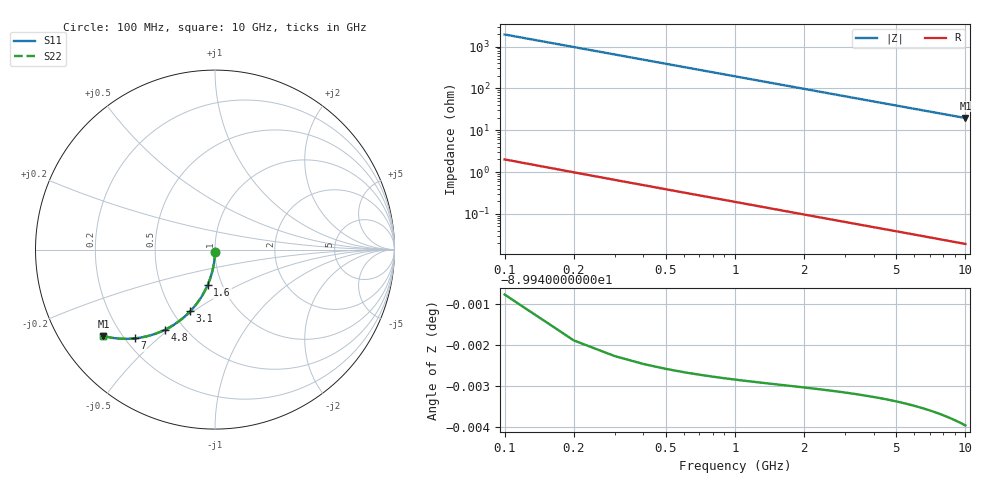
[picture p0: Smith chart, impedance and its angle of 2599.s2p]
# Hz S RI R 50.00
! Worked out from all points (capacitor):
!   100 points, 100 MHz to 10 GHz, reference 50 ohm
!   read as one part in shunt: C = 821 fF near 100 MHz
!   lowest |Z| = 19.6 ohm at 10 GHz (marker M1)
!   S11 on the Smith chart (normalised r, x): 100 MHz: 1.00, -0.03; 1.6 GHz: 0.85, -0.35; 3.1 GHz: 0.61, -0.49; 4.8 GHz: 0.40, -0.49; 7 GHz: 0.24, -0.42; 10 GHz: 0.13, -0.34
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1e8  -0.000164 -0.0129  0.9998 -0.0129  0.9998 -0.0129  -0.000164 -0.0129
2e8  -0.000675 -0.0257  0.9993 -0.0258  0.9993 -0.0258  -0.000675 -0.0257
3e8  -0.00152 -0.0385  0.9985 -0.0387  0.9985 -0.0387  -0.00152 -0.0385
4e8  -0.00269 -0.0513  0.9973 -0.0516  0.9973 -0.0516  -0.00269 -0.0513
5e8  -0.00419 -0.064  0.9958 -0.0643  0.9958 -0.0643  -0.00419 -0.064
6e8  -0.00601 -0.0767  0.994 -0.0771  0.994 -0.0771  -0.00601 -0.0767
7e8  -0.00815 -0.0893  0.9918 -0.0897  0.9918 -0.0897  -0.00815 -0.0893
9e8  -0.0134 -0.1142  0.9866 -0.1147  0.9866 -0.1147  -0.0134 -0.1142
1.2e9  -0.0235 -0.1507  0.9765 -0.1514  0.9765 -0.1514  -0.0235 -0.1507
1.6e9  -0.041 -0.1973  0.959 -0.1982  0.959 -0.1982  -0.041 -0.1973
1.8e9  -0.0512 -0.2195  0.9487 -0.2206  0.9487 -0.2206  -0.0512 -0.2195
2.4e9  -0.0875 -0.2814  0.9125 -0.2828  0.9125 -0.2828  -0.0875 -0.2814
3.1e9  -0.1377 -0.3432  0.8623 -0.345  0.8623 -0.345  -0.1377 -0.3432
3.4e9  -0.1611 -0.3661  0.8389 -0.3681  0.8389 -0.3681  -0.1611 -0.3661
4.1e9  -0.218 -0.4112  0.782 -0.4136  0.782 -0.4136  -0.218 -0.4112
4.8e9  -0.2762 -0.4452  0.7238 -0.448  0.7238 -0.448  -0.2762 -0.4452
5.1e9  -0.301 -0.4567  0.699 -0.4597  0.699 -0.4597  -0.301 -0.4567
5.9e9  -0.3653 -0.4793  0.6347 -0.4828  0.6347 -0.4828  -0.3653 -0.4793
6.7e9  -0.4256 -0.4919  0.5743 -0.4959  0.5743 -0.4959  -0.4256 -0.4919
7e9  -0.4471 -0.4946  0.5529 -0.4988  0.5529 -0.4988  -0.4471 -0.4946
8.4e9  -0.5374 -0.4956  0.4625 -0.5006  0.4625 -0.5006  -0.5374 -0.4956
1e10  -0.6216 -0.4815  0.3783 -0.4875  0.3783 -0.4875  -0.6216 -0.4815
